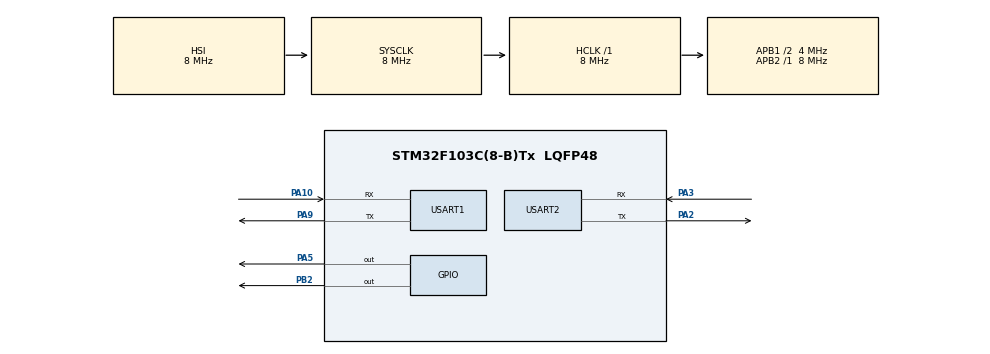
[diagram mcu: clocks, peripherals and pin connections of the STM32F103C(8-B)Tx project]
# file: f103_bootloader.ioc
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Mcu.Family=STM32F1
Mcu.Name=STM32F103C(8-B)Tx
Mcu.Package=LQFP48
NVIC.PriorityGroup=NVIC_PRIORITYGROUP_4
NVIC.USART1_IRQn=true\:0\:0\:false\:false\:true\:true\:true\:true
NVIC.USART2_IRQn=true\:0\:0\:false\:false\:true\:true\:true\:true
PA10.Mode=Asynchronous
PA10.Signal=USART1_RX
PA2.Mode=Asynchronous
PA2.Signal=USART2_TX
PA3.Mode=Asynchronous
PA3.Signal=USART2_RX
PA5.Signal=GPIO_Output
PA9.Mode=Asynchronous
PA9.Signal=USART1_TX
PB2.Signal=GPIO_Output
ProjectManager.HeapSize=0x200
ProjectManager.StackSize=0x400
ProjectManager.TargetToolchain=STM32CubeIDE
RCC.AHBFreq_Value=8000000
RCC.APB1CLKDivider=RCC_HCLK_DIV2
RCC.APB1Freq_Value=4000000
RCC.APB1TimFreq_Value=8000000
RCC.APB2Freq_Value=8000000
RCC.APB2TimFreq_Value=8000000
RCC.HCLKFreq_Value=8000000
RCC.PLLMUL=RCC_PLL_MUL9
RCC.SYSCLKFreq_VALUE=8000000
RCC.USBFreq_Value=36000000
USART1.VirtualMode=VM_ASYNC
USART2.VirtualMode=VM_ASYNC
board=custom

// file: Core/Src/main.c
/* USER CODE BEGIN Header */
/**
 ******************************************************************************
 * @file           : main.c
 * @brief          : Main program body
 ******************************************************************************
 * @attention
 *
 * Copyright (c) 2024 STMicroelectronics.
 * All rights reserved.
 *
 * This software is licensed under terms that can be found in the LICENSE file
 * in the root directory of this software component.
 * If no LICENSE file comes with this software, it is provided AS-IS.
 *
 ******************************************************************************
 */
/* USER CODE END Header */
#include "main.h"

/* USER CODE BEGIN Includes */
#include"string.h"
#include<stdio.h>
#include<stdbool.h>
/* USER CODE END Includes */

/* USER CODE BEGIN PD */

#define raw_rx_buf_size    4096
//#define raw_rx_buf_size    300
#define file_chunk_size    256
#define AT_BUF_SIZE        45
#define FLASH_APP_ADDR     0x8005000
#define APP_SIZE_BYTES     (44 * 1024)

/* USER CODE END PD */

UART_HandleTypeDef huart1;
UART_HandleTypeDef huart2;

/* USER CODE BEGIN PV */
//
//
uint32_t current_offset = 0;
uint8_t at_rx_buf[AT_BUF_SIZE]; //
uint8_t ota_rx_buf[raw_rx_buf_size];
//#define rtcm_buf_size    1550
//uint8_t rtcm[rtcm_buf_size]={'\0'};
int i, j = 0;

uint8_t status = 9;
uint8_t attempt;
uint16_t RxLen;
uint16_t filesize;
uint16_t digit;
/* USER CODE END PV */

void SystemClock_Config(void);
static void MX_GPIO_Init(void);
static void MX_USART1_UART_Init(void);
static void MX_USART2_UART_Init(void);
/* USER CODE BEGIN PFP */
void SerialWrite(char *data);
void ec200u_reset();
HAL_StatusTypeDef Send_and_read_AT_Command_(const char *cmd,
		const char *expected_response, uint8_t max_retries, uint32_t timeout_ms);
HAL_StatusTypeDef Send_AT_command(const char *cmd, uint8_t *response,
		uint16_t response_size, uint32_t timeout_ms);
bool is_app_flash_erased(void);
void Erase_application_area();
void goto_application(void);
void perform_OTA();

bool header_done = false;

void forward_to_rover(uint8_t byte) {
	HAL_UART_Transmit(&huart2, &byte, 1, HAL_MAX_DELAY);
}

void process_qird(uint8_t *buf, uint16_t len) {
	static int header_match = 0;

	for (int i = 0; i < len; i++) {
		uint8_t c = buf[i];

		// Skip "+QIRD:" lines (ASCII until newline)
		if (!header_done) {
			// Look for end of HTTP header: "\r\n\r\n"
			if (c == "\r\n\r\n"[header_match]) {
				header_match++;
				if (header_match == 4) {
					header_done = true;   // header complete
				}
			} else {
				header_match = 0;
			}
		} else {
			// After header is done, ignore trailing "OK\r\n"
			// Detect "OK" sequence
			if (c == 'O' && i + 1 < len && buf[i + 1] == 'K') {
				// Skip "OK\r\n"
				i += 3; // advance past "OK\r\n"
				continue;
			}

			// Forward RTCM binary to GNSS rover
			forward_to_rover(c);
		}
	}
}
uint16_t count_digit(uint16_t digit) {
	uint16_t count = 1;
	while (digit) {
		digit /= 10;
		if (digit != 0) {
			count++;
		}
	}
	return count;
}
void process_qird1(uint8_t *buf, uint16_t len) {
	static int state = 0;
	// 0 = searching for QIRD header
	// 1 = skipping digits until "\r\n" after QIRD
	// 2 = binary RTCM area

	for (uint16_t i = 0; i < len; i++) {
		uint8_t c = buf[i];

		switch (state) {
		// ------------------------------------------------------
		// 1) Detect and skip:  "\r\n+QIRD: 1262\r\n"
		// ------------------------------------------------------
		case 0:
			// Wait until we see "+QIRD:"
			if (c == '+') {
				// Check if starts with "+QIRD:"
				if (i + 6 < len && buf[i] == '+' && buf[i + 1] == 'Q'
						&& buf[i + 2] == 'I' && buf[i + 3] == 'R'
						&& buf[i + 4] == 'D' && buf[i + 5] == ':') {
					state = 1;     // skip number until CRLF
				}
			}
			break;

		case 1:
			// Skip digits "1262" until we see "\r\n"
			if (c == '\n') {
				state = 2; // raw RTCM starts after this
			}
			break;

			// ------------------------------------------------------
			// 2) RTCM Binary Stream
			// Skip trailing "OK\r\n"
			// ------------------------------------------------------
		case 2:
			if (c == 'O' && i + 3 < len && buf[i + 1] == 'K'
					&& buf[i + 2] == '\r' && buf[i + 3] == '\n') {
				i += 3;       // skip "OK\r\n"
				continue;
			}

			// Otherwise → forward binary byte
			forward_to_rover(c);
			break;
		}
	}
}

void process_stream(uint8_t *buf, uint16_t start, uint16_t stop) {

	for (uint16_t i = start; i < stop; i++) {
		uint8_t c = buf[i];

		forward_to_rover(c);
	}

}

/* USER CODE END PFP */

int main(void) {

	/* MCU Configuration--------------------------------------------------------*/

	/* Reset of all peripherals, Initializes the Flash interface and the Systick. */
	HAL_Init();

	/* Configure the system clock */
	SystemClock_Config();

	/* Initialize all configured peripherals */
	MX_GPIO_Init();
	MX_USART1_UART_Init();
	MX_USART2_UART_Init();
	/* USER CODE BEGIN 2 */

	/*
	 HAL_GPIO_WritePin(GPIOB, GPIO_PIN_2, SET);

	 SerialWrite("Bootloader Started\n");
	 ec200u_reset();

	 HAL_Delay(2000);
	 perform_OTA();
	 */
	 ec200u_reset();
	Send_and_read_AT_Command_("AT", "\r\nOK\r\n", 2, 1000);
	HAL_Delay(1000);
	Send_and_read_AT_Command_("AT+CPIN?", "\r\nOK\r\n", 1, 1000);
	HAL_Delay(1000);
	Send_and_read_AT_Command_("AT+CGATT=1", "\r\nOK\r\n", 1, 1000);
	HAL_Delay(1000);
	Send_and_read_AT_Command_("AT+CGDCONT=1,\"IP\",\"internet\"", "\r\nOK\r\n",
			1, 1000);
	HAL_Delay(1000);

	Send_and_read_AT_Command_("AT+QIACT=1", "\r\nOK\r\n", 1, 1000);
	HAL_Delay(1000);
	Send_and_read_AT_Command_("AT+QIACT?", "\r\nOK\r\n", 1, 1000);
	HAL_Delay(1000);
	Send_and_read_AT_Command_(
			"AT+QIOPEN=1,0,\"TCP\",\"eklntrip.escortskubota.com\",2101,0,2",
			"\r\nOK\r\n", 1, 2000);
	memset(ota_rx_buf, 0, raw_rx_buf_size);
	HAL_UART_Receive(&huart1, ota_rx_buf, 30, 1000);
	HAL_UART_Transmit(&huart2, ota_rx_buf, strlen(ota_rx_buf), 100);
	HAL_Delay(1000);
//	memset(rx_buf, 0, sizeof(rx_buf));
	memset(ota_rx_buf, 0, raw_rx_buf_size);
	Send_and_read_AT_Command_("AT+QISEND=0", "\r\nOK\r\n", 1, 1000);
	HAL_UART_Transmit(&huart1,
			"GET /test2 HTTP/1.1\r\nAuthorization: Basic YWRtaW46UEFOQGJ4OTky\r\nUser-Agent:NTRIP quectel\r\n\r\n",
			strlen("GET /test2 HTTP/1.1\r\nAuthorization: Basic YWRtaW46UEFOQGJ4OTky\r\nUser-Agent:NTRIP quectel\r\n\r\n"),2000);

	//	uint8_t ctrlz = 0x1A;   // Ctrl+Z character
//	HAL_UART_Transmit(&huart1, &ctrlz, 1, 100);
//
//	HAL_UART_Receive(&huart1, ota_rx_buf, 30, HAL_MAX_DELAY);
//	HAL_UART_Transmit(&huart2, ota_rx_buf, strlen(ota_rx_buf), 1000);
//	HAL_UART_Transmit(&huart2, "\n", 1, 100);
//
//	HAL_Delay(1000);
//
//	memset(ota_rx_buf, 0, raw_rx_buf_size);
//	HAL_UART_Transmit(&huart1, "AT+QIRD=0,1500\r\n",
//			strlen("AT+QIRD=0,1500\r\n"), 1000);
	HAL_UARTEx_ReceiveToIdle(&huart1, ota_rx_buf, raw_rx_buf_size - 1, &RxLen,
	HAL_MAX_DELAY);

//	//	HAL_UART_Receive(&huart1, ota_rx_buf, 1550, HAL_MAX_DELAY);
//	sscanf((char*) ota_rx_buf, "\r\n+QIRD: %d", &filesize);
//	if (filesize > 0) {
//		process_qird(ota_rx_buf, RxLen);
//	}
	/* USER CODE END 2 */

	/* Infinite loop */
	/* USER CODE BEGIN WHILE */

	while (1) {
		RxLen=0;

		HAL_UARTEx_ReceiveToIdle(&huart1, ota_rx_buf, raw_rx_buf_size - 1, &RxLen,HAL_MAX_DELAY);
		HAL_UART_Transmit(&huart2, ota_rx_buf, RxLen, HAL_MAX_DELAY);

//		filesize = 0;
//		RxLen=0;
//		memset(ota_rx_buf, 0, raw_rx_buf_size);
//		HAL_UART_Transmit(&huart1, "AT+QIRD=0,1500\r\n",
//				strlen("AT+QIRD=0,1500\r\n"), 1000);
//		HAL_UARTEx_ReceiveToIdle(&huart1, ota_rx_buf, raw_rx_buf_size - 1,
//				&RxLen, HAL_MAX_DELAY);
//		sscanf((char*) ota_rx_buf, "\r\n+QIRD: %d", &filesize);
//		digit = count_digit(filesize);
//
//		if (filesize > 0) {
//
//			process_stream(ota_rx_buf,(11+digit), (RxLen-8));
//
//
//		}

		//HAL_UART_Transmit(&huart2, ota_rx_buf, RxLen, HAL_MAX_DELAY);
		/* USER CODE END WHILE */

	}
}

void SystemClock_Config(void) {
	RCC_OscInitTypeDef RCC_OscInitStruct = { 0 };
	RCC_ClkInitTypeDef RCC_ClkInitStruct = { 0 };

	/** Initializes the RCC Oscillators according to the specified parameters
	 * in the RCC_OscInitTypeDef structure.
	 */
	RCC_OscInitStruct.OscillatorType = RCC_OSCILLATORTYPE_HSI;
	RCC_OscInitStruct.HSIState = RCC_HSI_ON;
	RCC_OscInitStruct.HSICalibrationValue = RCC_HSICALIBRATION_DEFAULT;
	RCC_OscInitStruct.PLL.PLLState = RCC_PLL_NONE;
	if (HAL_RCC_OscConfig(&RCC_OscInitStruct) != HAL_OK) {
		Error_Handler();
	}

	/** Initializes the CPU, AHB and APB buses clocks
	 */
	RCC_ClkInitStruct.ClockType = RCC_CLOCKTYPE_HCLK | RCC_CLOCKTYPE_SYSCLK
			| RCC_CLOCKTYPE_PCLK1 | RCC_CLOCKTYPE_PCLK2;
	RCC_ClkInitStruct.SYSCLKSource = RCC_SYSCLKSOURCE_HSI;
	RCC_ClkInitStruct.AHBCLKDivider = RCC_SYSCLK_DIV1;
	RCC_ClkInitStruct.APB1CLKDivider = RCC_HCLK_DIV2;
	RCC_ClkInitStruct.APB2CLKDivider = RCC_HCLK_DIV1;

	if (HAL_RCC_ClockConfig(&RCC_ClkInitStruct, FLASH_LATENCY_0) != HAL_OK) {
		Error_Handler();
	}
}

static void MX_USART1_UART_Init(void) {

	huart1.Instance = USART1;
	huart1.Init.BaudRate = 115200;
	huart1.Init.WordLength = UART_WORDLENGTH_8B;
	huart1.Init.StopBits = UART_STOPBITS_1;
	huart1.Init.Parity = UART_PARITY_NONE;
	huart1.Init.Mode = UART_MODE_TX_RX;
	huart1.Init.HwFlowCtl = UART_HWCONTROL_NONE;
	huart1.Init.OverSampling = UART_OVERSAMPLING_16;
	if (HAL_UART_Init(&huart1) != HAL_OK) {
		Error_Handler();
	}

}

static void MX_USART2_UART_Init(void) {

	huart2.Instance = USART2;
	huart2.Init.BaudRate = 115200;
	huart2.Init.WordLength = UART_WORDLENGTH_8B;
	huart2.Init.StopBits = UART_STOPBITS_1;
	huart2.Init.Parity = UART_PARITY_NONE;
	huart2.Init.Mode = UART_MODE_TX_RX;
	huart2.Init.HwFlowCtl = UART_HWCONTROL_NONE;
	huart2.Init.OverSampling = UART_OVERSAMPLING_16;
	if (HAL_UART_Init(&huart2) != HAL_OK) {
		Error_Handler();
	}

}

static void MX_GPIO_Init(void) {
	GPIO_InitTypeDef GPIO_InitStruct = { 0 };

	/* GPIO Ports Clock Enable */
	__HAL_RCC_GPIOA_CLK_ENABLE();
	__HAL_RCC_GPIOB_CLK_ENABLE();

	/*Configure GPIO pin Output Level */
	HAL_GPIO_WritePin(GPIOA, GPIO_PIN_5, GPIO_PIN_RESET);

	/*Configure GPIO pin Output Level */
	HAL_GPIO_WritePin(GPIOB, GPIO_PIN_2, GPIO_PIN_RESET);

	/*Configure GPIO pin : PA5 */
	GPIO_InitStruct.Pin = GPIO_PIN_5;
	GPIO_InitStruct.Mode = GPIO_MODE_OUTPUT_PP;
	GPIO_InitStruct.Pull = GPIO_NOPULL;
	GPIO_InitStruct.Speed = GPIO_SPEED_FREQ_LOW;
	HAL_GPIO_Init(GPIOA, &GPIO_InitStruct);

	/*Configure GPIO pin : PB2 */
	GPIO_InitStruct.Pin = GPIO_PIN_2;
	GPIO_InitStruct.Mode = GPIO_MODE_OUTPUT_PP;
	GPIO_InitStruct.Pull = GPIO_NOPULL;
	GPIO_InitStruct.Speed = GPIO_SPEED_FREQ_LOW;
	HAL_GPIO_Init(GPIOB, &GPIO_InitStruct);

}

/* USER CODE BEGIN 4 */
void SerialWrite(char *data) {
	HAL_StatusTypeDef result;
	result = HAL_UART_Transmit(&huart2, (uint8_t*) data, strlen(data),
	HAL_MAX_DELAY);
	if (result != HAL_OK) {
		Error_Handler();
	}
}
void ec200u_reset() {
	SerialWrite("Reseting the Ec200u module\n");
	HAL_GPIO_WritePin(GPIOA, GPIO_PIN_5, SET);
	HAL_Delay(200);
	HAL_GPIO_WritePin(GPIOA, GPIO_PIN_5, RESET);
	HAL_Delay(5000);

}
HAL_StatusTypeDef Send_and_read_AT_Command_(const char *cmd,
		const char *expected_response, uint8_t max_retries, uint32_t timeout_ms) {
	i++;
	HAL_StatusTypeDef status;
	char at_cmd[80];
	uint16_t RxLen;
	for (attempt = 1; attempt <= max_retries; attempt++) {
		memset(ota_rx_buf, 0, raw_rx_buf_size);
		sprintf(at_cmd, "%s\r\n", cmd);
		status = HAL_UART_Transmit(&huart1, (uint8_t*) at_cmd, strlen(at_cmd),
				timeout_ms);
		if (status != HAL_OK)
			return status;
		// Wait for Trasmit to complete
		while (__HAL_UART_GET_FLAG(&huart1, UART_FLAG_TC) == RESET)
			;
		__HAL_UART_FLUSH_DRREGISTER(&huart1);
		RxLen = 0;
		status = HAL_UARTEx_ReceiveToIdle(&huart1, ota_rx_buf,
		raw_rx_buf_size - 1, &RxLen, timeout_ms);
		if (strstr(cmd, "AT+QFREAD") != NULL) {
			return status;
		}

		if (status == HAL_OK) {
			if (strstr((char*) ota_rx_buf, expected_response) != NULL) {
//i=10;
//				HAL_UART_Transmit(&huart2, (uint8_t*) at_cmd, strlen(at_cmd),
//						timeout_ms);
//				HAL_UART_Transmit(&huart2, ota_rx_buf, strlen(ota_rx_buf),
//						timeout_ms);
				return HAL_OK;
			}

		}

		HAL_Delay(100);  // Optional delay before retry
	}
//	HAL_UART_Transmit(&huart2, (uint8_t*) at_cmd, strlen(at_cmd), timeout_ms);
//	HAL_UART_Transmit(&huart2, ota_rx_buf, strlen(ota_rx_buf), timeout_ms);
	// All retries failed
	return HAL_ERROR;
}

//HAL_StatusTypeDef Send_AT_command(const char *cmd, uint8_t *response,uint16_t response_size, uint32_t timeout_ms) {
//
//	HAL_StatusTypeDef status;
//	uint16_t RxLen;
//	memset(response, 0, response_size);
//	//__HAL_UART_FLUSH_DRREGISTER(&huart2);
//	char at_cmd[20];
//	sprintf(at_cmd, "%s\r\n", cmd);
//	status = HAL_UART_Transmit(&huart1, (uint8_t*) at_cmd, strlen(at_cmd),
//			timeout_ms);
//	if (status != HAL_OK)
//		return status;
//
//	__HAL_UART_FLUSH_DRREGISTER(&huart1);
//	RxLen = 0;
//	while (__HAL_UART_GET_FLAG(&huart1, UART_FLAG_TC) == RESET)
//		;
//	HAL_UARTEx_ReceiveToIdle(&huart1, response, response_size - 1, &RxLen,
//			timeout_ms);
//	return status;
//
//}
void check_status() {
	if (status == HAL_ERROR) {
		SerialWrite(
				"AT response is wrong or something went wrong. Reset again\n");
		SerialWrite("Jumping to the existing application\n");

		goto_application();
	}
}
bool is_app_flash_erased(void) {
	for (uint32_t addr = FLASH_APP_ADDR; addr < FLASH_APP_ADDR + APP_SIZE_BYTES;
			addr += 4) {
		if (*(uint32_t*) addr != 0xFFFFFFFF) {
			return false; // Not erased
		}
	}
	return true; // Fully erased
}
void Erase_application_area() {
	//SerialWrite("Erasing existing application\n");
	HAL_FLASH_Unlock();
	FLASH_EraseInitTypeDef erase;
	uint32_t PageError = 0;

	// 1. Calculate number of pages to erase (round up)
	uint32_t numPages = (APP_SIZE_BYTES + FLASH_PAGE_SIZE - 1) / FLASH_PAGE_SIZE;

	// 2. Erase application region
	erase.TypeErase = FLASH_TYPEERASE_PAGES;
	erase.PageAddress = FLASH_APP_ADDR;
	erase.NbPages = numPages;
	HAL_FLASHEx_Erase(&erase, &PageError);
	HAL_FLASH_Lock();

	if (is_app_flash_erased) {
		SerialWrite("Application erased successfully\n");
	} else {
		SerialWrite("Error in Application erasing\n");
	}
}
void goto_application(void) {
	SerialWrite("Goto application started\n");

	uint32_t appStackPointer = *(volatile uint32_t*) FLASH_APP_ADDR;
	uint32_t appResetHandler = *(volatile uint32_t*) (FLASH_APP_ADDR + 4);

	// Validate stack pointer (to avoid jumping into empty flash)
	if ((appStackPointer & 0x2FFE0000) != 0x20000000) {
		SerialWrite("No valid application found. OTA required.\n");
		return;
	}

	HAL_UART_DeInit(&huart1);
	HAL_UART_DeInit(&huart2);
	HAL_RCC_DeInit();
	HAL_DeInit();
	__disable_irq();
//
	// Disable SysTick
	SysTick->CTRL = 0;
	SysTick->LOAD = 0;
	SysTick->VAL = 0;

	// Optional: Reset external module
	HAL_GPIO_WritePin(GPIOB, GPIO_PIN_2, RESET);

	// Set vector table base
	SCB->VTOR = FLASH_APP_ADDR;

	// Set stack pointer and jump
	__set_MSP(appStackPointer);
	void (*resetHandler)(void) = (void (*)(void)) appResetHandler;
	resetHandler();
}

void perform_OTA() {

	uint8_t file_data[file_chunk_size];
	uint32_t bytes_written = 0;
	uint16_t actual_data_len;
	int filehandle, filesize;
	char at[30];
	//HAL_Delay(5000);
	SerialWrite("OTA starting\n");

	status = Send_and_read_AT_Command_("AT", "\r\nOK\r\n", 2, 1000);
	check_status();
	HAL_Delay(1000);

	status = Send_and_read_AT_Command_("AT+CPIN?",
			"\r\n+CPIN: READY\r\n\r\nOK\r\n", 5, 1000);
	check_status();
	HAL_Delay(1000);
	//SerialWrite("Deleting the file \n");
	status = Send_and_read_AT_Command_("AT+QFDEL=\"*\"", "\r\nOK\r\n", 5, 1000);
	check_status();
	HAL_Delay(1000);

	status = Send_and_read_AT_Command_("AT+QICSGP=1,1,\"internet\",\"\",\"\",0",
			"\r\nOK\r\n", 5, 1000);
	HAL_Delay(2000);

	status = Send_and_read_AT_Command_("AT+QIACT?", "\r\nOK\r\n", 5, 1000);
	check_status();
	HAL_Delay(1000);

	if (strstr((char*) ota_rx_buf, "+QIACT: 1,1,1,\"") == NULL) {
		status = Send_and_read_AT_Command_("AT+QIACT=1", "\r\nOK\r\n", 5, 3000);
		HAL_Delay(1000);
		status = Send_and_read_AT_Command_("AT+QIACT?", "+QIACT: 1,1,1,\"", 5,
				1000);
		HAL_Delay(1000);    // Valid response

	}

	status = Send_and_read_AT_Command_("AT+QHTTPCFG=\"contextid\",1",
			"\r\nOK\r\n", 5, 1000);
	check_status();
	HAL_Delay(1000);

	//status = Send_and_read_AT_Command_("AT+QHTTPURL=79,200", "\r\nCONNECT\r\n",5, 2000);
	status = Send_and_read_AT_Command_("AT+QHTTPURL=74,200", "\r\nCONNECT\r\n",
			5, 2000);
	check_status();
	HAL_Delay(1000);

//	status =Send_and_read_AT_Command_("https://raw.githubusercontent.com/kishan-shivhare/ota/main/f103_application.bin","\r\nOK\r\n", 5, 2000);
	status =
			Send_and_read_AT_Command_(
					"https://stm32-ota-firmware.s3.us-west-2.amazonaws.com/f103_application.bin",
					"\r\nOK\r\n", 5, 2000);
	check_status();
	HAL_Delay(1000);

	status = Send_and_read_AT_Command_("AT+QHTTPGET=400", "\r\nOK\r\n", 5,
			1000);
	check_status();
	HAL_Delay(3000);

	status = Send_and_read_AT_Command_(
			"AT+QHTTPREADFILE=\"UFS:application.bin\",400", "\r\nOK\r\n", 5,
			2000);
	check_status();
	HAL_Delay(1000);

	SerialWrite(
			"Check if any file not closed previously, closing the opened file \n");
	status = Send_and_read_AT_Command_("AT+QFCLOSE=1027", "\r\nOK\r\n", 1,
			2000);
	HAL_Delay(1000);

	status = Send_and_read_AT_Command_("AT+QFLST=\"UFS:application.bin\"",
			"\r\n+QFLST: \"UFS:application.bin\",", 1, 2000);
	check_status();
	HAL_Delay(2000);

	sscanf((char*) ota_rx_buf, "\r\n+QFLST: \"UFS:application.bin\",%d",
			&filesize);

	status = Send_and_read_AT_Command_("AT+QFOPEN=\"UFS:application.bin\",0",
			"\r\n+QFOPEN: ", 1, 2000);
	check_status();
	HAL_Delay(1000);

	sscanf((char*) ota_rx_buf, "\r\n+QFOPEN: %d", &filehandle);
	if (filesize && filehandle) {
		char cmd[64];
		sprintf(cmd, "Downloaded filesize:%d,%d\n", filesize, filehandle);
		SerialWrite(cmd);
		Erase_application_area();
	} else {
		SerialWrite(
				"file not found for OTA, closing the opened file and jumping to the existing application\n");
		sprintf(at, "AT+QFCLOSE=%d", filehandle);
		status = Send_and_read_AT_Command_(at, "\r\nOK\r\n", 1, 2000);
		goto_application();
		return;
	}
	//SerialWrite("Writing downloaded file to the application area\n");
	HAL_Delay(1000);
	HAL_FLASH_Unlock();
	for (uint32_t i = 0; i < filesize; i += file_chunk_size) {
		j++;
		char cmd[64];
		sprintf(cmd, "AT+QFREAD=%d,%d", filehandle, file_chunk_size);

		//Send_AT_command(cmd, ota_rx_buf, raw_rx_buf_size, 2000);
		status = Send_and_read_AT_Command_(cmd, "\r\nCONNECT ", 1, 1000);
		check_status();
		// Search for "CONNECT"
		char *connect_ptr = strstr((char*) ota_rx_buf, "CONNECT");
		if (!connect_ptr)
			return HAL_ERROR;

		// Find actual data start (after \r\n following CONNECT)
		char *data_start = strstr(connect_ptr, "\r\n");
		if (!data_start)
			return HAL_ERROR;
		data_start += 2; // Skip \r\n

		sscanf((char*) ota_rx_buf, "\r\nCONNECT %d\r\n", &actual_data_len);

		memcpy(file_data, data_start, actual_data_len);

		for (uint32_t k = 0; k < actual_data_len; k += 4) {
			uint32_t word = *(uint32_t*) (file_data + k);
			HAL_FLASH_Program(FLASH_TYPEPROGRAM_WORD, FLASH_APP_ADDR + i + k,
					word);
		}
		bytes_written += actual_data_len;

	}
	//SerialWrite("file write successfully \n");
	//SerialWrite("Closing the file \n");
	sprintf(at, "AT+QFCLOSE=%d", filehandle);
	status = Send_and_read_AT_Command_(at, "\r\nOK\r\n", 1, 2000);
	check_status();
	HAL_Delay(1000);

	//SerialWrite("Checking whole file is written successfully \n");
	if (bytes_written == filesize) {
		SerialWrite("OTA done\n");
		goto_application();
	}
}
/* USER CODE END 4 */

void Error_Handler(void) {
	__disable_irq();
	while (1) {
	}
}
